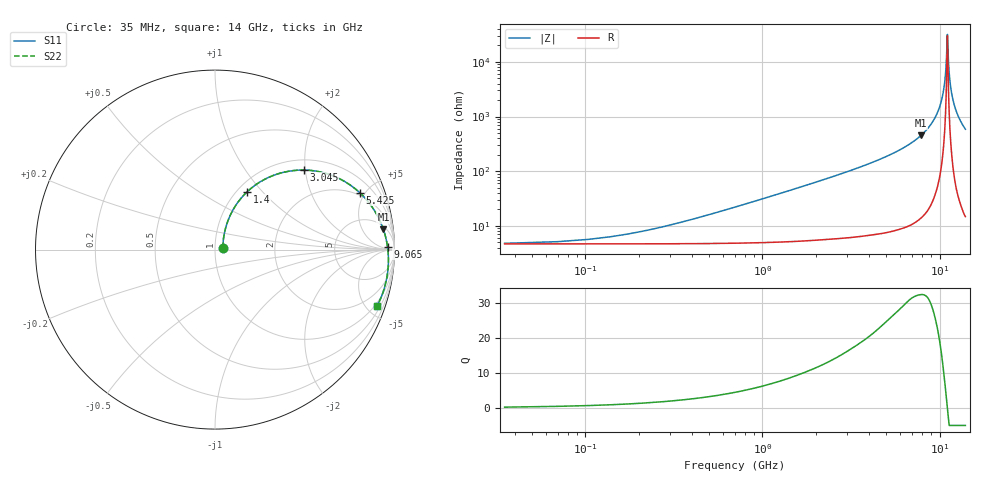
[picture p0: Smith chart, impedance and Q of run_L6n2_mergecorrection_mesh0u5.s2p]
#  Hz  S  RI  R  50
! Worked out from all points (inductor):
!   400 points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, 35 MHz to 14 GHz, reference 50 ohm
!   read as one part in series: L = 4.87 nH near 490 MHz
!   highest Q = 32.4 at 7.875 GHz (marker M1), where L = 9.16 nH
!   self-resonance near 11.06 GHz
!   S11 on the Smith chart (normalised r, x): 35 MHz: 1.09, +0.02; 1.4 GHz: 1.11, +0.83; 3.045 GHz: 1.24, +1.96; 5.425 GHz: 1.80, +4.59; 9.065 GHz: 42, +19; 14 GHz: 0.79, -5.76
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3.5e7  0.0433 0.00916  0.9536 -0.0105  0.9536 -0.0105  0.0433 0.00916
5.95e8  0.0691 0.1526  0.9206 -0.1708  0.9206 -0.1708  0.0692 0.1525
1.4e9  0.1792 0.3222  0.7999 -0.3479  0.7999 -0.3479  0.1791 0.3221
2.38e9  0.3685 0.4273  0.6088 -0.4621  0.6088 -0.4621  0.3684 0.4273
3.045e9  0.4937 0.4432  0.4818 -0.4848  0.4818 -0.4848  0.4936 0.4432
4.69e9  0.7334 0.3728  0.2401 -0.4322  0.2401 -0.4322  0.7333 0.3728
5.425e9  0.8061 0.3174  0.1666 -0.3848  0.1666 -0.3848  0.806 0.3174
7.035e9  0.9082 0.1829  0.0624 -0.2686  0.0624 -0.2686  0.9082 0.1829
7.875e9  0.9383 0.1125  0.0312 -0.208  0.0312 -0.208  0.9382 0.1126
9.065e9  0.9611 0.0167  0.00655 -0.1258  0.00655 -0.1258  0.961 0.0168
9.345e9  0.9637 -0.00504  0.0035 -0.1073  0.0035 -0.1073  0.9637 -0.005
1.0115e10  0.9663 -0.0632  -0.000453 -0.0582  -0.000453 -0.0582  0.9662 -0.0631
1.0605e10  0.9648 -0.0988  0.000175 -0.0283  0.000175 -0.0283  0.9647 -0.0987
1.0885e10  0.963 -0.1187  0.00154 -0.0116  0.00154 -0.0116  0.9629 -0.1186
1.0955e10  0.9624 -0.1236  0.00199 -0.00756  0.00199 -0.00756  0.9624 -0.1236
1.106e10  0.9615 -0.131  0.00274 -0.00146  0.00274 -0.00146  0.9614 -0.1309
1.1095e10  0.9612 -0.1334  0.003 0.000562  0.003 0.000561  0.9611 -0.1333
1.12e10  0.9601 -0.1407  0.00387 0.00659  0.00387 0.00659  0.9601 -0.1406
1.134e10  0.9585 -0.1504  0.00515 0.0145  0.00515 0.0145  0.9585 -0.1503
1.169e10  0.9539 -0.1741  0.009 0.0341  0.009 0.0341  0.9539 -0.174
1.2565e10  0.9385 -0.2309  0.0227 0.0807  0.0227 0.0807  0.9385 -0.2308
1.4e10  0.9016 -0.3168  0.0559 0.1495  0.0559 0.1495  0.9017 -0.3166
